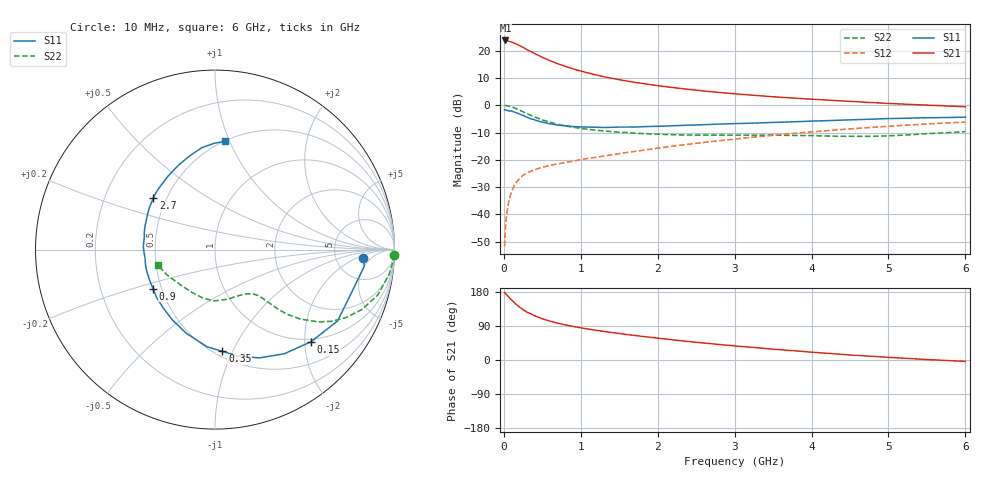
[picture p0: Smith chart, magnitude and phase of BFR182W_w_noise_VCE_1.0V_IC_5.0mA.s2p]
! Infineon Technologies  Discrete & RF Semiconductors
! BFR182W
! VCE =  1.0 V,  IC =  5.0 mA
! Common Emitter S-Parameters:  Jan 2017
# GHz  S  MA  R  50
!  f  S11  S21  S12  S22
! GHz  MAG  ANG  MAG  ANG  MAG  ANG  MAG  ANG
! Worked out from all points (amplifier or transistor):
!   77 points, 10 MHz to 6 GHz, reference 50 ohm
!   highest |S21| = 23.8 dB at 20 MHz (marker M1)
!   |S21| within 3 dB of that: start of sweep to 279 MHz
!   unconditionally stable (mu >= 1): 1.252 GHz to 3.21 GHz
!   at 130 MHz: K = 0.18, MSG = 26.3 dB, |S12| = -29.8 dB
!   at 2.2 GHz: K = 1.07, MAG = 9.2 dB, |S12| = -15.0 dB
!   at 6 GHz: K = 0.89, MSG = 2.8 dB, |S12| = -6.1 dB
!   lowest NFmin = 0.88 dB at 450 MHz
!   S11 on the Smith chart (normalised r, x): 10 MHz: 10, -3; 150 MHz: 0.94, -2.14; 350 MHz: 0.55, -0.91; 900 MHz: 0.45, -0.23; 2.7 GHz: 0.42, +0.30; 6 GHz: 0.50, +0.96
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0.01  0.8284 -3.3  15.42 177.9  0.0026 90.4  0.9969 -1.6
0.02  0.8371 -6.3  15.55 175.8  0.0055 83.5  0.9951 -3.3
0.05  0.8027 -15.3  15.26 169.1  0.0131 81.4  0.9801 -8.1
0.1  0.7902 -30.2  14.59 158.4  0.0261 76.2  0.9412 -15.6
0.15  0.7415 -43.8  13.64 148.8  0.0368 68.4  0.884 -22.2
0.2  0.6969 -56.4  12.62 140.2  0.0447 64.1  0.8226 -27.4
0.25  0.6518 -67.8  11.6 132.7  0.0522 59.1  0.7624 -31.6
0.3  0.6069 -77.8  10.6 126.5  0.0572 56.3  0.7044 -34.9
0.35  0.5686 -85.8  9.738 121.9  0.0616 54.2  0.6576 -36.9
0.4  0.5429 -94.8  8.951 116.5  0.0661 52.4  0.6118 -39.2
0.5  0.4923 -109.1  7.624 108.8  0.073 50.5  0.5415 -41.8
0.6  0.4586 -121.1  6.625 102.5  0.0791 49.7  0.4899 -43.2
0.7  0.4353 -131.3  5.819 97.2  0.0839 50.1  0.4502 -44.0
0.9  0.4082 -147.9  4.674 88.6  0.0948 50.5  0.3968 -45.2
1.1  0.3993 -161.5  3.916 81.6  0.1065 52.6  0.363 -46.3
1.5  0.3994 178.2  2.959 69.9  0.13 54.9  0.3215 -50.0
2.1  0.4171 156.3  2.209 55.4  0.1711 56.2  0.292 -60.2
2.7  0.4474 140.2  1.779 42.9  0.2164 55.2  0.2844 -73.6
3.1  0.4661 130.8  1.59 35.5  0.2488 53.5  0.2835 -82.4
4.1  0.5189 111.2  1.275 19.2  0.3349 46.9  0.2757 -106.3
5.1  0.5757 96.0  1.069 5.8  0.4217 37.9  0.2798 -139.7
6  0.6066 84.6  0.942 -3.7  0.4941 28.7  0.3298 -165.0
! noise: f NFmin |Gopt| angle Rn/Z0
0.45  0.88  0.26  32  0.17
0.9  0.98  0.21  59  0.16
1.9  1.55  0.19  162  0.13
2.4  1.83  0.21  176  0.17
